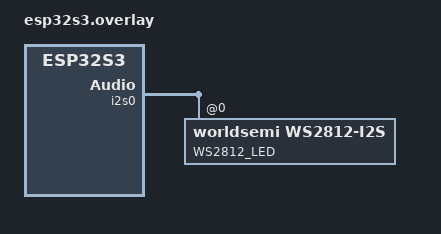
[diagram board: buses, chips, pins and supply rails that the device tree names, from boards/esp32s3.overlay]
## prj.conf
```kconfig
CONFIG_LOG=y
CONFIG_WS2812_STRIP_I2S=y
CONFIG_I2S=y
```

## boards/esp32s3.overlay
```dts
#include <zephyr/dt-bindings/led/led.h>

/ {
    chosen {
        zephyr,led-strip = &led_strip;
    };
};

/* 配置 I2S0 引脚，把 I2S0 的数据输出脚映射到目标 GPIO
 * 你需要确认哪根 GPIO 可做 I2S0 的 data out；官方示例用 GPIO38。
 * 如果你一定要用 GPIO48，需要确认芯片是否支持 I2S0_O_SD_GPIO48 这种 pinmux 宏。
 * 暂用示例：GPIO38。后续再替换为 48 时需查 pinmux 宏名字。
 */
&i2s0_default {
    group1 {
        pinmux = <I2S0_O_SD_GPIO48>;
        output-enable;
    };
};

/* 使能 I2S0 控制器并在其下挂 ws2812 子节点 */
&i2s0 {
    status = "okay";

    /* DMA 配置（与 sample 一致），通道号 3 做 TX；若你的 SoC DTS 有不同，按需修改 */
    dmas = <&dma 3>;
    dma-names = "tx";

    led_strip: ws2812@0 {
        compatible = "worldsemi,ws2812-i2s";
        reg = <0>;                              /* 虚拟地址标识 */
        chain-length = <1>;                     /* 像素个数 */
        color-mapping = <LED_COLOR_ID_GREEN
                         LED_COLOR_ID_RED
                         LED_COLOR_ID_BLUE>;    /* GRB 顺序 */
        reset-delay = <500>;                    /* I2S 驱动推荐较大 reset */
        label = "WS2812_LED";
    };
};

/* 确保 DMA 控制器可用（若板 DTS 里本来就是 okay 可省略） */
&dma {
    status = "okay";
};
```

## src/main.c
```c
#include <zephyr/kernel.h>
#include <zephyr/device.h>
#include <zephyr/drivers/led_strip.h>
#include <zephyr/logging/log.h>
#include <zephyr/devicetree.h>

LOG_MODULE_REGISTER(main, LOG_LEVEL_INF);

#if DT_NODE_EXISTS(DT_CHOSEN(zephyr_led_strip))
#define STRIP_NODE DT_CHOSEN(zephyr_led_strip)
#else
#define STRIP_NODE DT_INVALID_NODE
#endif

void main(void)
{
    /* 尝试通过 chosen 节点获取，如果失败则通过 label */
#if DT_NODE_EXISTS(DT_CHOSEN(zephyr_led_strip))
    const struct device *led_strip = DEVICE_DT_GET(DT_CHOSEN(zephyr_led_strip));
#else
    const struct device *led_strip = device_get_binding("WS2812_LED");
#endif
    if (!led_strip || !device_is_ready(led_strip)) {
        LOG_ERR("LED strip device not found or not ready");
        return;
    }

    LOG_INF("LED strip device ready: %s", led_strip->name);

#if DT_NODE_EXISTS(DT_CHOSEN(zephyr_led_strip))
    /* 读取 devicetree 属性：链长、reset-delay、color-mapping 长度 */
#if DT_NODE_HAS_PROP(STRIP_NODE, chain_length)
    LOG_INF("chain-length: %d", DT_PROP(STRIP_NODE, chain_length));
#endif
#if DT_NODE_HAS_PROP(STRIP_NODE, reset_delay)
    LOG_INF("reset-delay: %d us", DT_PROP(STRIP_NODE, reset_delay));
#endif
#if DT_NODE_HAS_PROP(STRIP_NODE, color_mapping)
    LOG_INF("color-mapping entries: %d", DT_PROP_LEN(STRIP_NODE, color_mapping));
#endif
#endif


    LOG_INF("Initialization info printed. No LED update performed yet.");
    /* 后续步骤：添加像素缓冲并调用 led_strip_update_rgb() */
    while (1) {
        k_sleep(K_SECONDS(2));
    }
}
```
